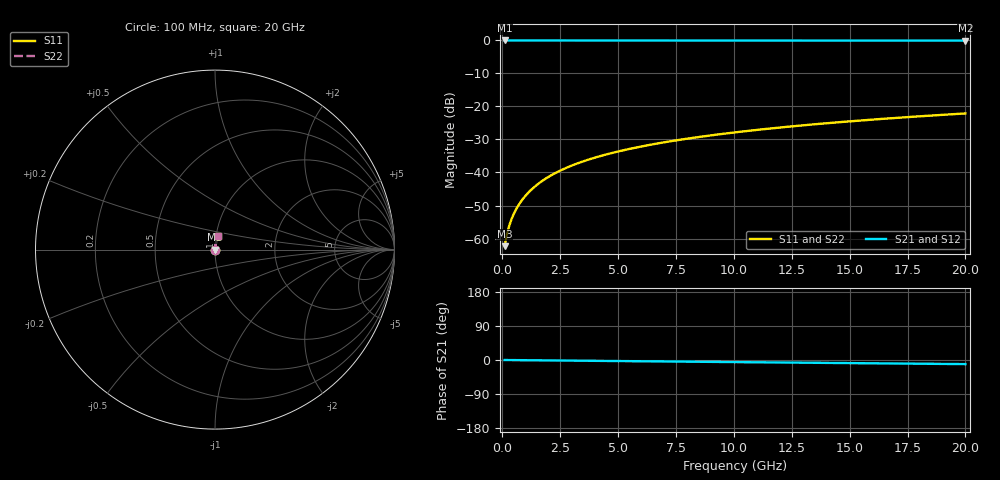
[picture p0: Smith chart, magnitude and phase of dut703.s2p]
! Touchstone file exported from HFSS 2026.1.0
!  File:  C:/ffzhzh/LocalFiles/Ansys_Project_Files/temp_train_TMRDL_703_1783154449_43440.aedt
!  Generated:  04:42:05 PM Jul  4, 2026
!  Design:  TMRDL
!  Project:  temp_train_TMRDL_703_1783154449_43440
! Variables:
!  h_bsmrdl = 2um
!  h_ox = 20um
!  h_rdl = 5um
!  h_sub = 80um
!  h_tmrdl = 5.49um
!  h_tsv = 80um
!  h_via = 3um
!  l_bsmrdl = 300um
!  l_sub = 552.36um
!  l_tmrdl = 152.36um
!  m_sub = 200um
!  pitch = 38.8um
!  r_tsv = 6um
!  s_tmrdl = 10um
!  w_bsmrdl = 18um
!  w_sub = 500um
!  w_tmrdl = 22.91um
!  x_tsv_center1 = 163.815um
!  x_tsv_center2 = 481.815um
!  x_tsv_center3 = 657.085um
!  x_tsv_center4 = 975.085um
!  x_tsv_center5 = 1150.355um
!  x_tsv_center6 = 1468.355um
# GHz S MA R 50.000000
! Terminal data exported
! Port[1] = TM_RDL1_1_T1
! Port[2] = TM_RDL1_1_T2
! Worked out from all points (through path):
!   200 points, 100 MHz to 20 GHz, reference 50 ohm
!   highest |S21| = -0.01 dB at 100 MHz (marker M1); lowest = -0.1 dB at 20 GHz (marker M2)
!   group delay of S21, straight-line fit = 1.5 ps
!   lowest |S11| = -62.3 dB at 100 MHz (marker M3), VSWR 1.00, Z = 50.1 + j0.0497 ohm
!   |S11| at or under -10 dB: start of sweep to end of sweep
!   |S22| runs from -62.3 to -22.1 dB; largest |S21 - S12| = 3.2e-15
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0.1  0.0007659 40.4  0.9994 -0.1  0.9994 -0.1  0.0007659 40.4
! Gamma 0 0 0 0
! Port Impedance 50 0 50 0
0.2  0.001154 56.9  0.9994 -0.1  0.9994 -0.1  0.001154 56.9
0.3  0.001566 64.2  0.9993 -0.2  0.9993 -0.2  0.001566 64.2
0.4  0.001975 68.4  0.9993 -0.2  0.9993 -0.2  0.001975 68.4
0.5  0.002381 71.4  0.9992 -0.3  0.9992 -0.3  0.002381 71.4
0.6  0.002789 73.5  0.9992 -0.3  0.9992 -0.3  0.002789 73.5
0.8  0.003608 76.5  0.9992 -0.5  0.9992 -0.5  0.003608 76.5
1.1  0.00485 79.2  0.9991 -0.6  0.9991 -0.6  0.00485 79.2
1.3  0.005683 80.2  0.9991 -0.7  0.9991 -0.7  0.005683 80.2
1.6  0.006936 81.3  0.999 -0.9  0.999 -0.9  0.006936 81.3
2.1  0.009019 82.2  0.9989 -1.2  0.9989 -1.2  0.009019 82.2
2.7  0.0115 82.7  0.9988 -1.5  0.9988 -1.5  0.0115 82.7
3.5  0.01478 82.8  0.9985 -2.0  0.9985 -2.0  0.01478 82.8
4.2  0.01761 82.8  0.9983 -2.3  0.9983 -2.3  0.01761 82.8
5  0.02081 82.6  0.9981 -2.8  0.9981 -2.8  0.02081 82.6
5.9  0.02437 82.4  0.9978 -3.3  0.9978 -3.3  0.02437 82.4
6.8  0.0279 82.1  0.9976 -3.8  0.9976 -3.8  0.0279 82.1
8.3  0.03375 81.6  0.9972 -4.6  0.9972 -4.6  0.03375 81.6
10.1  0.04071 80.9  0.9967 -5.5  0.9967 -5.5  0.04071 80.9
13.4  0.0534 79.6  0.9957 -7.3  0.9957 -7.3  0.0534 79.6
16.7  0.06597 78.1  0.9946 -9.1  0.9946 -9.1  0.06597 78.1
20  0.07839 76.5  0.9933 -10.9  0.9933 -10.9  0.07839 76.5
